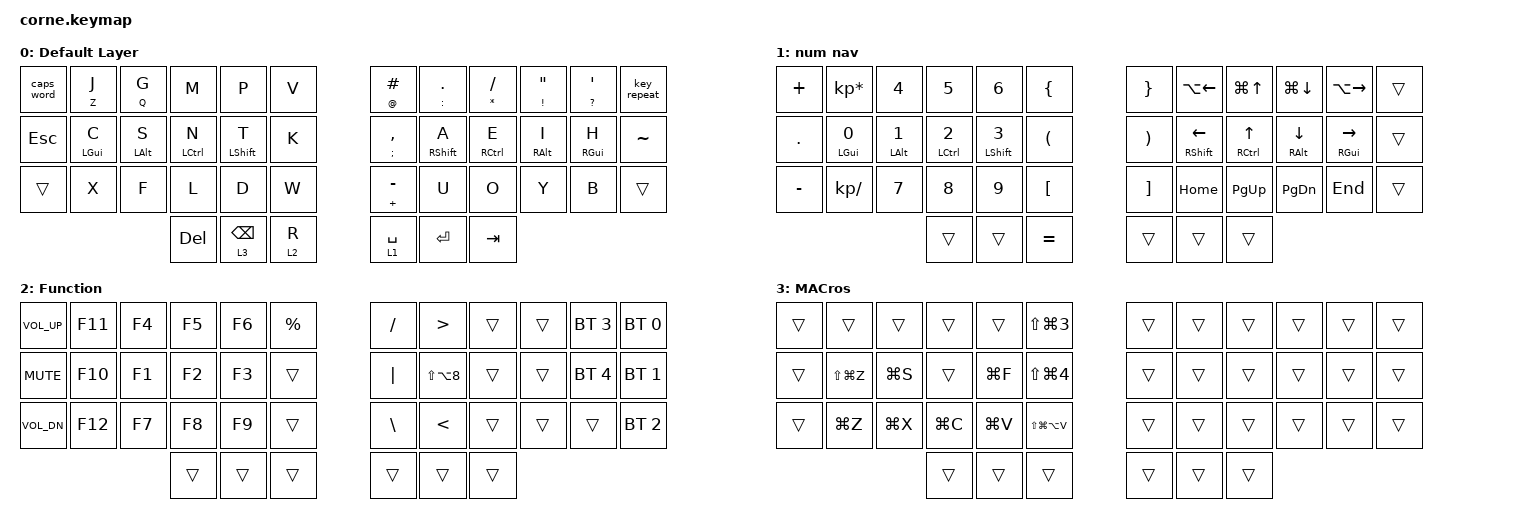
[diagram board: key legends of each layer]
/*
 * Copyright (c) 2020 The ZMK Contributors
 *
 * SPDX-License-Identifier: MIT
 */

#include <behaviors.dtsi>
#include <dt-bindings/zmk/bt.h>
#include <dt-bindings/zmk/keys.h>

/ {
    combos {
        compatible = "zmk,combos";

        tabkey {
            bindings = <&kp TAB>;
            key-positions = <38 37>;
        };

        Ampersand {
            bindings = <&kp AMPERSAND>;
            key-positions = <7 8>;
        };
    };

    behaviors {
        Ht280: Ht280 {
            compatible = "zmk,behavior-hold-tap";
            label = "HT280";
            bindings = <&kp>, <&kp>;

            #binding-cells = <2>;
            tapping-term-ms = <280>;
            hold-trigger-key-positions = <13 14 15 22 21 20>;
        };
    };

    keymap {
        compatible = "zmk,keymap";

        default_layer {
            display-name = "Default Layer";

            // -----------------------------------------------------------------------------------------
            // |  TAB |  Q  |  W  |  E  |  R  |  T  |   |  Y  |  U   |  I  |  O  |  P  | BSPC |
            // | CTRL |  A  |  S  |  D  |  F  |  G  |   |  H  |  J   |  K  |  L  |  ;  |  '   |
            // | SHFT |  Z  |  X  |  C  |  V  |  B  |   |  N  |  M   |  ,  |  .  |  /  | ESC  |
            //                    | GUI | LWR | SPC |   | ENT | RSE  | ALT |

            bindings = <
&caps_word  &mt Z J            &mt Q G            &kp M           &kp P            &kp V      &mt AT_SIGN HASH     &mt COLON PERIOD  &mt ASTERISK SLASH  &mt EXCLAMATION DOUBLE_QUOTES  &mt QUESTION SQT    &key_repeat
&kp ESCAPE  &Ht280 LEFT_GUI C  &Ht280 LEFT_ALT S  &Ht280 LCTRL N  &mt LSHIFT T     &kp K      &mt SEMICOLON COMMA  &mt RSHIFT A      &Ht280 RCTRL E      &Ht280 RIGHT_ALT I             &Ht280 RIGHT_GUI H  &kp TILDE
&trans      &kp X              &kp F              &kp L           &kp D            &kp W      &mt PLUS MINUS       &kp U             &kp O               &kp Y                          &kp B               &trans
                                                  &kp DELETE      &lt 3 BACKSPACE  &lt 2 R    &lt 1 SPACE          &kp ENTER         &kp TAB
            >;
        };

        num_nav {
            display-name = "num nav";

            // -----------------------------------------------------------------------------------------
            // |  TAB |  1  |  2  |  3  |  4  |  5  |   |  6  |  7  |  8  |  9  |  0  | BSPC |
            // | BTCLR| BT1 | BT2 | BT3 | BT4 | BT5 |   | LFT | DWN |  UP | RGT |     |      |
            // | SHFT |     |     |     |     |     |   |     |     |     |     |     |      |
            //                    | GUI |     | SPC |   | ENT |     | ALT |

            bindings = <
&kp PLUS    &kp KP_MULTIPLY     &kp NUMBER_4              &kp N5                 &kp NUMBER_6             &kp LEFT_BRACE          &kp RIGHT_BRACE        &kp LA(LEFT_ARROW)          &kp LG(UP_ARROW)       &kp LG(DOWN_ARROW)           &kp LA(RIGHT_ARROW)     &trans
&kp PERIOD  &Ht280 LEFT_GUI N0  &Ht280 LEFT_ALT NUMBER_1  &Ht280 LCTRL NUMBER_2  &mt LEFT_SHIFT NUMBER_3  &kp LEFT_PARENTHESIS    &kp RIGHT_PARENTHESIS  &mt RIGHT_SHIFT LEFT_ARROW  &Ht280 RCTRL UP_ARROW  &Ht280 RIGHT_ALT DOWN_ARROW  &Ht280 RIGHT_GUI RIGHT  &trans
&kp MINUS   &kp KP_DIVIDE       &kp N7                    &kp N8                 &kp N9                   &kp LEFT_BRACKET        &kp RIGHT_BRACKET      &kp HOME                    &kp PG_UP              &kp PAGE_DOWN                &kp END                 &trans
                                                          &trans                 &trans                   &kp EQUAL               &trans                 &trans                      &trans
            >;
        };

        fun {
            display-name = "Function";

            // -----------------------------------------------------------------------------------------
            // |  TAB |  !  |  @  |  #  |  $  |  %  |   |  ^  |  &  |  *  |  (  |  )  | BSPC |
            // | CTRL |     |     |     |     |     |   |  -  |  =  |  [  |  ]  |  \  |  `   |
            // | SHFT |     |     |     |     |     |   |  _  |  +  |  {  |  }  | "|" |  ~   |
            //                    | GUI |     | SPC |   | ENT |     | ALT |

            bindings = <
&kp C_VOLUME_UP  &kp F11  &kp F4  &kp F5  &kp F6  &kp PRCNT    &kp SLASH      &kp GREATER_THAN  &trans  &trans  &bt BT_SEL 3  &bt BT_SEL 0
&kp C_MUTE       &kp F10  &kp F1  &kp F2  &kp F3  &trans       &kp PIPE       &kp LS(LA(N8))    &trans  &trans  &bt BT_SEL 4  &bt BT_SEL 1
&kp C_VOL_DN     &kp F12  &kp F7  &kp F8  &kp F9  &trans       &kp BACKSLASH  &kp LESS_THAN     &trans  &trans  &trans        &bt BT_SEL 2
                                  &trans  &trans  &trans       &trans         &trans            &trans
            >;
        };

        MACros {
            bindings = <
&trans  &trans         &trans     &trans     &trans     &kp LS(LG(NUMBER_3))    &trans  &trans  &trans  &trans  &trans  &trans
&trans  &kp LS(LG(Z))  &kp LG(S)  &trans     &kp LG(F)  &kp LS(LG(NUMBER_4))    &trans  &trans  &trans  &trans  &trans  &trans
&trans  &kp LG(Z)      &kp LG(X)  &kp LG(C)  &kp LG(V)  &kp LS(LG(LA(V)))       &trans  &trans  &trans  &trans  &trans  &trans
                                  &trans     &trans     &trans                  &trans  &trans  &trans
            >;
        };
    };
};
